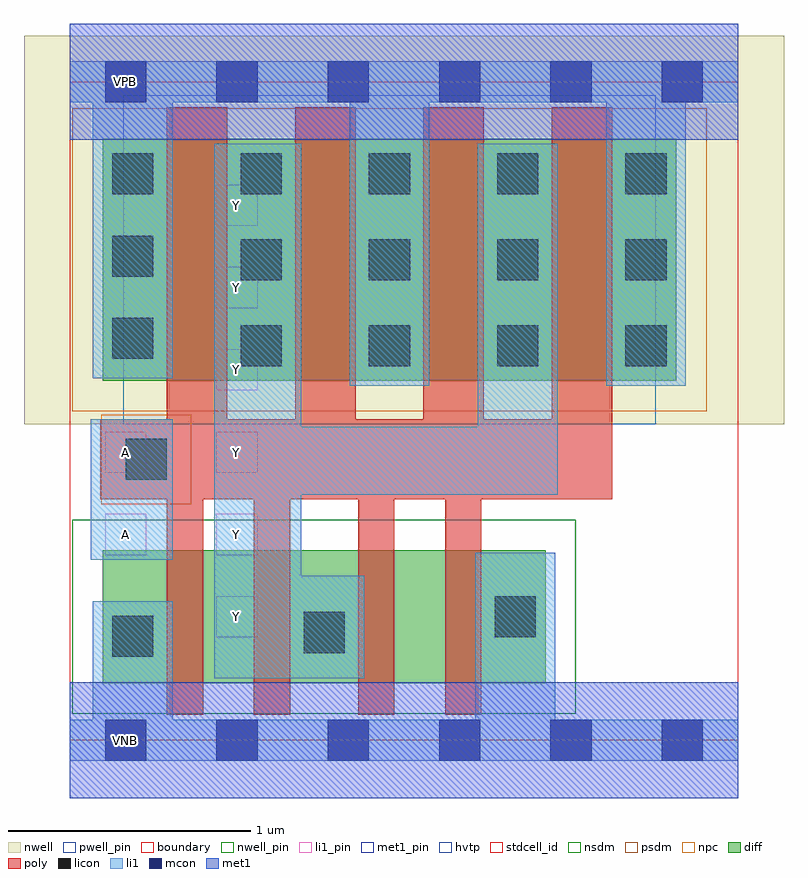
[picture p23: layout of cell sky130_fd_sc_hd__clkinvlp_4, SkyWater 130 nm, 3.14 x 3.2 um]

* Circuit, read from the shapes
.subckt sky130_fd_sc_hd__clkinvlp_4 A VGND VNB VPB VPWR Y
XM1 n1 A VGND VNB sky130_fd_pr__nfet_01v8 w=0.55 l=0.15
XM2 Y A n1 VNB sky130_fd_pr__nfet_01v8 w=0.55 l=0.15
XM3 n2 A Y VNB sky130_fd_pr__nfet_01v8 w=0.55 l=0.15
XM4 VGND A n2 VNB sky130_fd_pr__nfet_01v8 w=0.55 l=0.15
XM5 Y A VPWR VPB sky130_fd_pr__pfet_01v8_hvt w=1 l=0.25 m=4
.ends

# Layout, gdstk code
import gdstk
lib = gdstk.Library(unit=1e-6, precision=1e-09)
def R(c, l, rs):  # rectangles x0, y0, x1, y1
    for r in rs: c.add(gdstk.rectangle(r[:2], r[2:], *l))
def A(c, l, x, y, w, h, nx, ny, dx, dy):  # array of equal rectangles
    R(c, l, [(x+i*dx, y+j*dy, x+i*dx+w, y+j*dy+h) for i in range(nx) for j in range(ny)])
nwell_pin = (64, 16)
nwell = (64, 20)
diff = (65, 20)
poly = (66, 20)
licon = (66, 44)
li1_pin = (67, 16)
li1 = (67, 20)
mcon = (67, 44)
met1_pin = (68, 16)
met1 = (68, 20)
hvtp = (78, 44)
stdcell_id = (81, 4)
nsdm = (93, 44)
psdm = (94, 20)
npc = (95, 20)
pwell_pin = (122, 16)
boundary = (235, 4)

sky130_fd_sc_hd__clkinvl = lib.new_cell('sky130_fd_sc_hd__clkinvlp_4')
R(sky130_fd_sc_hd__clkinvl, nwell_pin, [(0.145,2.635,0.315,2.805)])
R(sky130_fd_sc_hd__clkinvl, nwell, [(-0.19,1.305,2.95,2.91)])
R(sky130_fd_sc_hd__clkinvl, diff, [(0.135,0.235,1.965,0.785), (0.135,1.485,2.505,2.485)])
A(sky130_fd_sc_hd__clkinvl, poly, 0.4, 1.325, 0.25, 1.29, 4, 1, 0.53, 0)
R(sky130_fd_sc_hd__clkinvl, poly, [(0.4,0.105,0.55,0.995), (0.76,0.105,0.91,0.995), (1.19,0.105,1.34,0.995), (1.55,0.105,1.7,0.995), (0.125,0.995,2.24,1.325)])
A(sky130_fd_sc_hd__clkinvl, licon, 0.705, 1.545, 0.17, 0.17, 4, 2, 0.53, 0.355)
A(sky130_fd_sc_hd__clkinvl, licon, 0.175, 2.255, 0.17, 0.17, 5, 1, 0.53, 0)
R(sky130_fd_sc_hd__clkinvl, licon, [(0.175,0.345,0.345,0.515), (0.965,0.36,1.135,0.53), (1.755,0.425,1.925,0.595), (0.23,1.075,0.4,1.245), (0.175,1.575,0.345,1.745), (0.175,1.915,0.345,2.085)])
A(sky130_fd_sc_hd__clkinvl, li1_pin, 0.605, 0.425, 0.17, 0.17, 1, 6, 0, 0.34)
R(sky130_fd_sc_hd__clkinvl, li1_pin, [(0.145,0.765,0.315,0.935), (0.145,1.105,0.315,1.275)])
R(sky130_fd_sc_hd__clkinvl, li1, [(0,-0.085,2.76,0.085), (0.095,0.085,0.425,0.575), (1.675,0.085,2.005,0.775), (0.595,0.255,1.215,0.68), (0.595,0.68,0.955,1.015), (0.085,0.745,0.425,1.325), (0.595,1.015,2.015,1.295), (0.595,1.295,0.955,2.465), (1.685,1.295,2.015,2.465), (1.155,1.465,1.485,2.635), (2.215,1.465,2.545,2.635), (0.095,1.495,0.425,2.635), (0,2.635,2.76,2.805)])
A(sky130_fd_sc_hd__clkinvl, mcon, 0.145, -0.085, 0.17, 0.17, 6, 2, 0.46, 2.72)
R(sky130_fd_sc_hd__clkinvl, met1_pin, [(0.145,-0.085,0.315,0.085), (0.145,2.635,0.315,2.805)])
R(sky130_fd_sc_hd__clkinvl, met1, [(0,-0.24,2.76,0.24), (0,2.48,2.76,2.96)])
R(sky130_fd_sc_hd__clkinvl, hvtp, [(0.22,1.305,2.42,2.665)])
R(sky130_fd_sc_hd__clkinvl, stdcell_id, [(0,0,2.76,2.72)])
R(sky130_fd_sc_hd__clkinvl, nsdm, [(0.01,0.11,2.09,0.91)])
R(sky130_fd_sc_hd__clkinvl, psdm, [(0.01,1.36,2.63,2.61)])
R(sky130_fd_sc_hd__clkinvl, npc, [(0.13,0.975,0.5,1.345)])
R(sky130_fd_sc_hd__clkinvl, pwell_pin, [(0.145,-0.085,0.315,0.085)])
R(sky130_fd_sc_hd__clkinvl, boundary, [(0,0,2.76,2.72)])
sky130_fd_sc_hd__clkinvl.add(gdstk.Label('VNB', (0.23,0), layer=64, texttype=59))
sky130_fd_sc_hd__clkinvl.add(gdstk.Label('VPB', (0.23,2.72), layer=64, texttype=5))
sky130_fd_sc_hd__clkinvl.add(gdstk.Label('VPWR', (0.23,2.72), layer=68, texttype=5))
sky130_fd_sc_hd__clkinvl.add(gdstk.Label('VGND', (0.23,0), layer=68, texttype=5))
sky130_fd_sc_hd__clkinvl.add(gdstk.Label('A', (0.23,0.85), layer=67, texttype=5))
sky130_fd_sc_hd__clkinvl.add(gdstk.Label('A', (0.23,1.19), layer=67, texttype=5))
sky130_fd_sc_hd__clkinvl.add(gdstk.Label('Y', (0.69,2.21), layer=67, texttype=5))
sky130_fd_sc_hd__clkinvl.add(gdstk.Label('Y', (0.69,1.87), layer=67, texttype=5))
sky130_fd_sc_hd__clkinvl.add(gdstk.Label('Y', (0.69,1.53), layer=67, texttype=5))
sky130_fd_sc_hd__clkinvl.add(gdstk.Label('Y', (0.69,1.19), layer=67, texttype=5))
sky130_fd_sc_hd__clkinvl.add(gdstk.Label('Y', (0.69,0.85), layer=67, texttype=5))
sky130_fd_sc_hd__clkinvl.add(gdstk.Label('Y', (0.69,0.51), layer=67, texttype=5))

lib.write_gds('sky130_fd_sc_hd__clkinvlp_4.gds')
